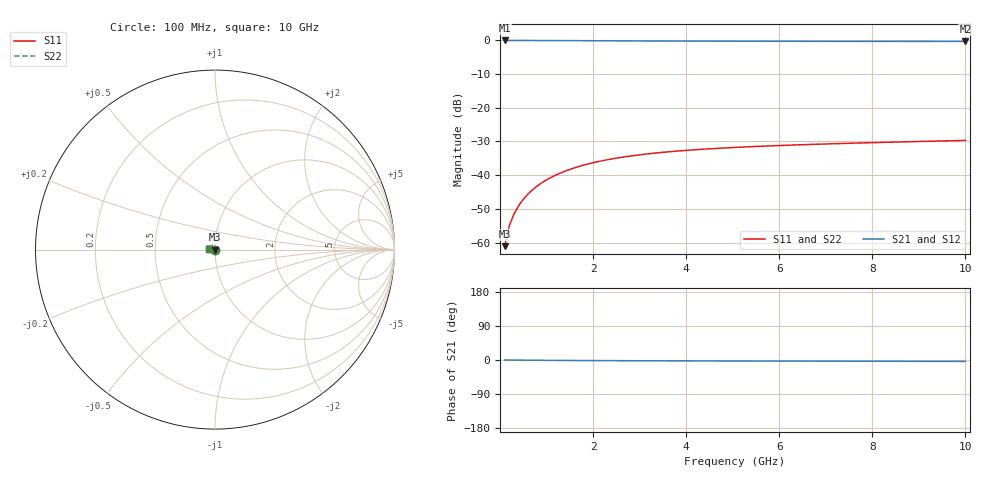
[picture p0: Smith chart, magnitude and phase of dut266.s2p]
! Touchstone file exported from HFSS 2024.1.0
!  File:  C:/UserFiles/LocalFiles/RDL_TSV_Batchsim/temp_TSV1_266_1779392001.aedt
!  Generated:  03:38:16 AM May 22, 2026
!  Design:  TSV1
!  Project:  temp_TSV1_266_1779392001
!  Setup:  Setup1
!  Solution:  Sweep
! Variables:
!  dtsv = 10.75um
!  hbump = 3um
!  htsv = 55.15um
!  lrdl = 252.1521522um
!  p = 40
!  p1 = 54.92um
!  t = 500um
!  trdl = 3um
!  wrdl = 24.89489489um
# GHz S MA R 50.000000
! Terminal data exported
! Port[1] = TSV22_T1
! Port[2] = TSV22_T2
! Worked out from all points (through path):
!   100 points, 100 MHz to 10 GHz, reference 50 ohm
!   highest |S21| = 0.00 dB at 100 MHz (marker M1); lowest = -0.3 dB at 10 GHz (marker M2)
!   lowest |S11| = -61.1 dB at 100 MHz (marker M3), VSWR 1.00, Z = 50 - j0.088 ohm
!   |S11| at or under -10 dB: start of sweep to end of sweep
!   |S22| runs from -61.1 to -29.7 dB; largest |S21 - S12| = 5.4e-15
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0.1  0.0008826 -85.5  0.9999 -0.1  0.9999 -0.1  0.0008826 -85.5
! Gamma 0 0 0 0
! Port Impedance 50 0 50 0
0.2  0.001758 -90.6  0.9998 -0.2  0.9998 -0.2  0.001758 -90.6
0.3  0.002635 -93.6  0.9996 -0.3  0.9996 -0.3  0.002635 -93.6
0.4  0.003507 -96.2  0.9994 -0.4  0.9994 -0.4  0.003507 -96.2
0.5  0.004372 -98.5  0.9991 -0.5  0.9991 -0.5  0.004372 -98.5
0.6  0.005226 -100.7  0.9987 -0.5  0.9987 -0.5  0.005226 -100.7
0.7  0.006067 -102.9  0.9983 -0.6  0.9983 -0.6  0.006067 -102.9
0.8  0.006894 -104.9  0.9979 -0.7  0.9979 -0.7  0.006894 -104.9
0.9  0.007704 -107.0  0.9974 -0.8  0.9974 -0.8  0.007704 -107.0
1.1  0.009269 -110.9  0.9964 -1.0  0.9964 -1.0  0.009269 -110.9
1.4  0.01147 -116.5  0.9945 -1.2  0.9945 -1.2  0.01147 -116.5
1.6  0.01283 -120.0  0.9932 -1.3  0.9932 -1.3  0.01283 -120.0
1.8  0.0141 -123.4  0.9919 -1.4  0.9919 -1.4  0.0141 -123.4
2.1  0.01584 -128.2  0.9898 -1.6  0.9898 -1.6  0.01584 -128.2
2.5  0.01789 -134.1  0.9872 -1.8  0.9872 -1.8  0.01789 -134.1
2.9  0.01964 -139.4  0.9847 -1.9  0.9847 -1.9  0.01964 -139.4
3.4  0.0215 -145.5  0.9819 -2.1  0.9819 -2.1  0.0215 -145.5
4.2  0.02386 -153.8  0.9781 -2.4  0.9781 -2.4  0.02386 -153.8
5.1  0.0259 -161.8  0.9747 -2.6  0.9747 -2.6  0.0259 -161.8
6.7  0.02862 -173.3  0.9706 -3.0  0.9706 -3.0  0.02862 -173.3
8.4  0.03089 177.0  0.9678 -3.4  0.9678 -3.4  0.03089 177.0
10  0.03278 169.3  0.966 -3.8  0.966 -3.8  0.03278 169.3
